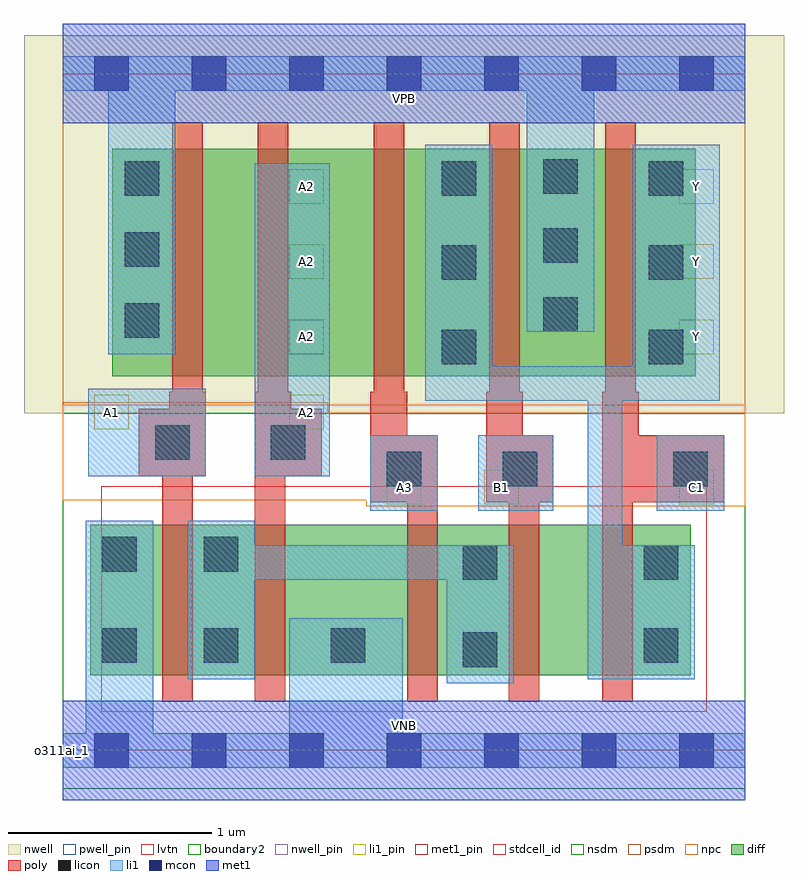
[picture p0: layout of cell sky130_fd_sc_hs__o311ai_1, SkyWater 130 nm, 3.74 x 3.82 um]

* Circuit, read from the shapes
.subckt sky130_fd_sc_hs__o311ai_1 A1 A2 A3 B1 C1 VGND VNB VPB VPWR Y
XM1 n1 A1 VGND VNB sky130_fd_pr__nfet_01v8_lvt w=0.74 l=0.15
XM2 VGND A2 n1 VNB sky130_fd_pr__nfet_01v8_lvt w=0.74 l=0.15
XM3 n1 A3 VGND VNB sky130_fd_pr__nfet_01v8_lvt w=0.74 l=0.15
XM4 n2 B1 n1 VNB sky130_fd_pr__nfet_01v8_lvt w=0.74 l=0.15
XM5 Y C1 n2 VNB sky130_fd_pr__nfet_01v8_lvt w=0.74 l=0.15
XM6 n3 A1 VPWR VPB sky130_fd_pr__pfet_01v8 w=1.12 l=0.15
XM7 n4 A2 n3 VPB sky130_fd_pr__pfet_01v8 w=1.12 l=0.15
XM8 Y A3 n4 VPB sky130_fd_pr__pfet_01v8 w=1.12 l=0.15
XM9 VPWR B1 Y VPB sky130_fd_pr__pfet_01v8 w=1.12 l=0.15
XM10 Y C1 VPWR VPB sky130_fd_pr__pfet_01v8 w=1.12 l=0.15
.ends

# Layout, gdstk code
import gdstk
lib = gdstk.Library(unit=1e-6, precision=1e-09)
def R(c, l, rs):  # rectangles x0, y0, x1, y1
    for r in rs: c.add(gdstk.rectangle(r[:2], r[2:], *l))
def A(c, l, x, y, w, h, nx, ny, dx, dy):  # array of equal rectangles
    R(c, l, [(x+i*dx, y+j*dy, x+i*dx+w, y+j*dy+h) for i in range(nx) for j in range(ny)])
def P(c, l, *ps):  # polygons
    for p in ps: c.add(gdstk.Polygon(p, *l))
nwell_pin = (64, 16)
nwell = (64, 20)
diff = (65, 20)
poly = (66, 20)
licon = (66, 44)
li1_pin = (67, 16)
li1 = (67, 20)
mcon = (67, 44)
met1_pin = (68, 16)
met1 = (68, 20)
stdcell_id = (81, 4)
nsdm = (93, 44)
psdm = (94, 20)
npc = (95, 20)
pwell_pin = (122, 16)
lvtn = (125, 44)
boundary2 = (236, 0)

sky130_fd_sc_hs__o311ai_ = lib.new_cell('sky130_fd_sc_hs__o311ai_1')
R(sky130_fd_sc_hs__o311ai_, nwell_pin, [(0,3.085,3.36,3.33)])
R(sky130_fd_sc_hs__o311ai_, nwell, [(-0.19,1.66,3.55,3.52)])
R(sky130_fd_sc_hs__o311ai_, diff, [(0.135,0.37,3.09,1.11), (0.245,1.84,3.115,2.96)])
P(sky130_fd_sc_hs__o311ai_, poly, [(0.705,1.765),(0.69,1.765),(0.69,3.09),(0.54,3.09),(0.54,1.765),(0.525,1.765),(0.525,1.68),(0.375,1.68),(0.375,1.35),(0.49,1.35),(0.49,0.24),(0.64,0.24),(0.64,1.35),(0.705,1.35)],
  [(1.275,1.68),(1.125,1.68),(1.125,1.765),(1.11,1.765),(1.11,3.09),(0.96,3.09),(0.96,1.765),(0.945,1.765),(0.945,0.24),(1.095,0.24),(1.095,1.35),(1.275,1.35)],
  [(1.845,1.55),(1.695,1.55),(1.695,1.765),(1.68,1.765),(1.68,3.09),(1.53,3.09),(1.53,1.765),(1.515,1.765),(1.515,1.22),(1.695,1.22),(1.695,0.24),(1.845,0.24)],
  [(2.415,1.55),(2.265,1.55),(2.265,1.765),(2.25,1.765),(2.25,3.09),(2.1,3.09),(2.1,1.765),(2.085,1.765),(2.085,1.22),(2.195,1.22),(2.195,0.24),(2.345,0.24),(2.345,1.22),(2.415,1.22)],
  [(3.255,1.55),(2.835,1.55),(2.835,1.765),(2.82,1.765),(2.82,3.09),(2.67,3.09),(2.67,1.765),(2.655,1.765),(2.655,0.24),(2.805,0.24),(2.805,1.22),(3.255,1.22)])
A(sky130_fd_sc_hs__o311ai_, licon, 1.865, 1.9, 0.17, 0.17, 1, 3, 0, 0.415)
A(sky130_fd_sc_hs__o311ai_, licon, 2.885, 1.9, 0.17, 0.17, 1, 3, 0, 0.415)
A(sky130_fd_sc_hs__o311ai_, licon, 0.305, 2.03, 0.17, 0.17, 1, 3, 0, 0.35)
A(sky130_fd_sc_hs__o311ai_, licon, 2.365, 2.06, 0.17, 0.17, 1, 3, 0, 0.34)
R(sky130_fd_sc_hs__o311ai_, licon, [(1.97,0.41,2.14,0.58), (0.195,0.43,0.365,0.6), (0.695,0.43,0.865,0.6), (1.32,0.43,1.49,0.6), (2.86,0.43,3.03,0.6), (1.97,0.84,2.14,1.01), (2.86,0.84,3.03,1.01), (0.195,0.88,0.365,1.05), (0.695,0.88,0.865,1.05), (1.595,1.3,1.765,1.47), (2.165,1.3,2.335,1.47), (3.005,1.3,3.175,1.47), (0.455,1.43,0.625,1.6), (1.025,1.43,1.195,1.6)])
A(sky130_fd_sc_hs__o311ai_, li1_pin, 1.115, 1.58, 0.17, 0.17, 1, 4, 0, 0.37)
A(sky130_fd_sc_hs__o311ai_, li1_pin, 3.035, 1.95, 0.17, 0.17, 1, 3, 0, 0.37)
R(sky130_fd_sc_hs__o311ai_, li1_pin, [(1.595,1.21,1.765,1.38), (2.075,1.21,2.245,1.38), (3.035,1.21,3.205,1.38), (0.155,1.58,0.325,1.75)])
R(sky130_fd_sc_hs__o311ai_, li1, [(1.515,1.18,1.845,1.55), (2.045,1.18,2.415,1.55), (2.925,1.18,3.255,1.55), (0.125,1.35,0.705,1.78), (0.945,1.35,1.315,2.89)])
P(sky130_fd_sc_hs__o311ai_, li1, [(0,-0.085),(0,0.085),(0.115,0.085),(0.115,1.13),(0.445,1.13),(0.445,0.085),(1.115,0.085),(1.115,0.65),(1.675,0.65),(1.675,0.085),(3.36,0.085),(3.36,-0.085)],
  [(0,3.245),(0,3.415),(3.36,3.415),(3.36,3.245),(2.615,3.245),(2.615,2.06),(2.285,2.06),(2.285,3.245),(0.555,3.245),(0.555,1.95),(0.225,1.95),(0.225,3.245)],
  [(2.805,1.89),(2.805,2.98),(3.235,2.98),(3.235,1.72),(2.755,1.72),(2.755,1.01),(3.11,1.01),(3.11,0.35),(2.585,0.35),(2.585,1.72),(1.785,1.72),(1.785,2.98),(2.115,2.98),(2.115,1.89)],
  [(0.945,1.01),(2.22,1.01),(2.22,0.33),(1.89,0.33),(1.89,0.84),(0.945,0.84),(0.945,0.35),(0.615,0.35),(0.615,1.13),(0.945,1.13)])
A(sky130_fd_sc_hs__o311ai_, mcon, 0.155, -0.085, 0.17, 0.17, 7, 2, 0.48, 3.33)
R(sky130_fd_sc_hs__o311ai_, met1_pin, [(0,0,3.36,0.245), (0,3.085,3.36,3.33)])
R(sky130_fd_sc_hs__o311ai_, met1, [(0,-0.245,3.36,0.245), (0,3.085,3.36,3.575)])
R(sky130_fd_sc_hs__o311ai_, stdcell_id, [(0,0,3.36,3.33)])
R(sky130_fd_sc_hs__o311ai_, nsdm, [(0,-0.19,3.36,1.66)])
P(sky130_fd_sc_hs__o311ai_, psdm, [(3.36,3.52),(0,3.52),(0,1.71),(1.305,1.71),(1.305,1.66),(3.36,1.66)])
P(sky130_fd_sc_hs__o311ai_, npc, [(3.36,1.7),(0,1.7),(0,1.23),(1.495,1.23),(1.495,1.2),(3.36,1.2)])
R(sky130_fd_sc_hs__o311ai_, pwell_pin, [(0,0,3.36,0.245)])
R(sky130_fd_sc_hs__o311ai_, lvtn, [(0.19,0.19,3.17,1.3)])
R(sky130_fd_sc_hs__o311ai_, boundary2, [(0,0,3.36,3.33)])
sky130_fd_sc_hs__o311ai_.add(gdstk.Label('o311ai_1', (0,0), layer=83, texttype=44))
sky130_fd_sc_hs__o311ai_.add(gdstk.Label('VNB', (1.68,0.123), layer=64, texttype=59))
sky130_fd_sc_hs__o311ai_.add(gdstk.Label('VPB', (1.68,3.208), layer=64, texttype=5))
sky130_fd_sc_hs__o311ai_.add(gdstk.Label('VPWR', (1.68,3.208), layer=68, texttype=5))
sky130_fd_sc_hs__o311ai_.add(gdstk.Label('VGND', (1.68,0.123), layer=68, texttype=5))
sky130_fd_sc_hs__o311ai_.add(gdstk.Label('A2', (1.2,1.665), layer=67, texttype=5))
sky130_fd_sc_hs__o311ai_.add(gdstk.Label('A2', (1.2,2.035), layer=67, texttype=5))
sky130_fd_sc_hs__o311ai_.add(gdstk.Label('A2', (1.2,2.405), layer=67, texttype=5))
sky130_fd_sc_hs__o311ai_.add(gdstk.Label('A2', (1.2,2.775), layer=67, texttype=5))
sky130_fd_sc_hs__o311ai_.add(gdstk.Label('A1', (0.24,1.665), layer=67, texttype=5))
sky130_fd_sc_hs__o311ai_.add(gdstk.Label('C1', (3.12,1.295), layer=67, texttype=5))
sky130_fd_sc_hs__o311ai_.add(gdstk.Label('B1', (2.16,1.295), layer=67, texttype=5))
sky130_fd_sc_hs__o311ai_.add(gdstk.Label('Y', (3.12,2.035), layer=67, texttype=5))
sky130_fd_sc_hs__o311ai_.add(gdstk.Label('Y', (3.12,2.405), layer=67, texttype=5))
sky130_fd_sc_hs__o311ai_.add(gdstk.Label('Y', (3.12,2.775), layer=67, texttype=5))
sky130_fd_sc_hs__o311ai_.add(gdstk.Label('A3', (1.68,1.295), layer=67, texttype=5))

lib.write_gds('sky130_fd_sc_hs__o311ai_1.gds')
